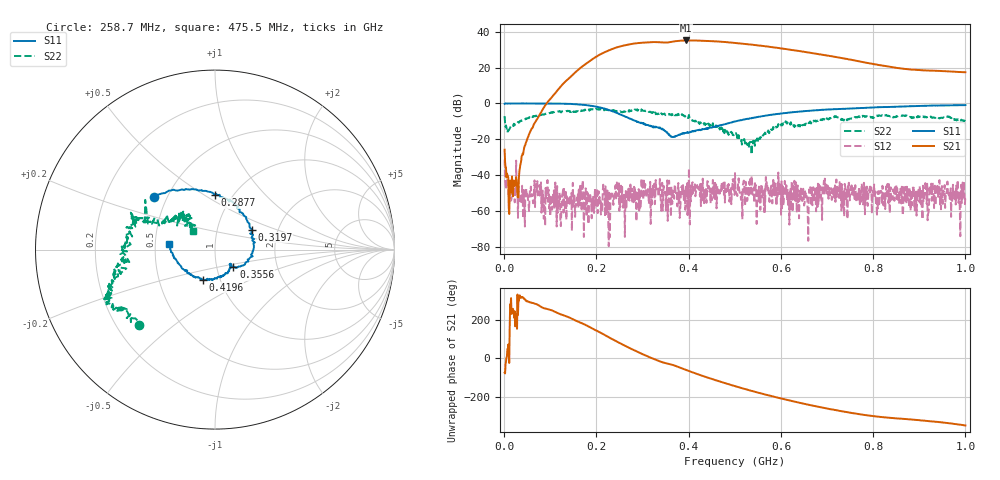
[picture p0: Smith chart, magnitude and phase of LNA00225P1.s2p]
! Created with skrf 1.9.0 (http://scikit-rf.org).
# Hz S RI R 50.0
!freq ReS11 ImS11 ReS21 ImS21 ReS12 ImS12 ReS22 ImS22
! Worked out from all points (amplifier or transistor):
!   1001 points, 1 MHz to 1 GHz, reference 50 ohm
!   highest |S21| = 35.1 dB at 394.6 MHz (marker M1)
!   |S21| within 3 dB of that: 256.4 MHz to 558.2 MHz (301.8 MHz wide, 74.1 % of centre)
!   unconditionally stable (mu >= 1): start of sweep to 96 MHz; 298 MHz to 400.4 MHz; 400.8 MHz to end of sweep (the widest 3 of 20)
!   at 166.8 MHz: K = 0.82, MSG = 33.2 dB, |S12| = -46.3 dB
!   at 500.5 MHz: K = 1.09, MAG = 34.5 dB, |S12| = -38.8 dB
!   at 1 GHz: K = 4.18, MAG = 25.2 dB, |S12| = -51.4 dB
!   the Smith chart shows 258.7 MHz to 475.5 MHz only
!   S11 on the Smith chart (normalised r, x): 258.7 MHz: 0.42, +0.31; 287.7 MHz: 0.83, +0.56; 319.7 MHz: 1.47, +0.35; 355.6 MHz: 1.20, -0.24; 419.6 MHz: 0.83, -0.29; 475.5 MHz: 0.59, +0.04
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1000000  0.9734 0.0105  0.0131 -0.0496  -0.0256 0.0096  0.3363 0.2899
1.08892e8  0.5099 -0.8482  -0.8642 -1.598  0.00056 -0.000991  0.4246 -0.381
1.67833e8  -0.2545 -0.8866  -10.37 -0.3212  0.000976 6.45e-05  0.0245 -0.6434
2.13787e8  -0.6833 -0.2859  -14.76 20.37  0.00215 0.00287  -0.2336 -0.6527
2.39761e8  -0.5582 0.119  -1.021 35.06  -0.0031 -0.000662  -0.3243 -0.5399
2.58742e8  -0.3409 0.2925  15.11 38.02  -0.00108 -0.00192  -0.4258 -0.4182
2.87713e8  -0.00174 0.3057  39.3 26.96  0.000754 -0.00274  -0.5761 -0.2689
3.19681e8  0.2058 0.1117  51.16 0.4985  -0.000618 0.00457  -0.5386 -0.1142
3.34666e8  0.209 -0.0117  49.54 -12.35  0.000885 0.00235  -0.5186 -0.0656
3.55645e8  0.1021 -0.0971  44.08 -24.43  -9.11e-05 0.00194  -0.4928 0.0636
3.72628e8  0.0889 -0.0864  41.45 -35.76  -0.00148 0.00255  -0.4624 0.1451
3.94606e8  0.0407 -0.146  27.3 -50  0.00472 0.000769  -0.3845 0.1534
4.19581e8  -0.0685 -0.1668  6.802 -56.05  0.0024 0.00352  -0.2466 0.164
4.45555e8  -0.1786 -0.1082  -13.11 -53.14  0.000735 0.00332  -0.1604 0.1653
4.75525e8  -0.2563 0.0297  -31.18 -41.5  0.00545 -0.00259  -0.1211 0.1038
5.005e8  -0.2639 0.1714  -39.94 -28.06  0.011 -0.00315  -0.1297 0.0382
5.36464e8  -0.1803 0.3389  -42.67 -7.801  0.00584 -0.00755  -0.037 0.00524
5.84416e8  0.0244 0.4929  -34.63 12.2  0.00333 -0.00196  -0.1753 -0.0926
6.67333e8  0.416 0.4751  -10.63 22.87  -0.00219 0.000552  -0.3186 -0.0176
7.46254e8  0.6541 0.2846  3.195 16.64  -0.00355 -0.00059  -0.3496 0.0824
8.34166e8  0.794 0.0105  6.595 8.279  -0.00349 -0.00438  -0.3946 0.2024
1e9  0.7196 -0.5378  7.254 1.481  -0.000707 0.00261  -0.057 0.3114
